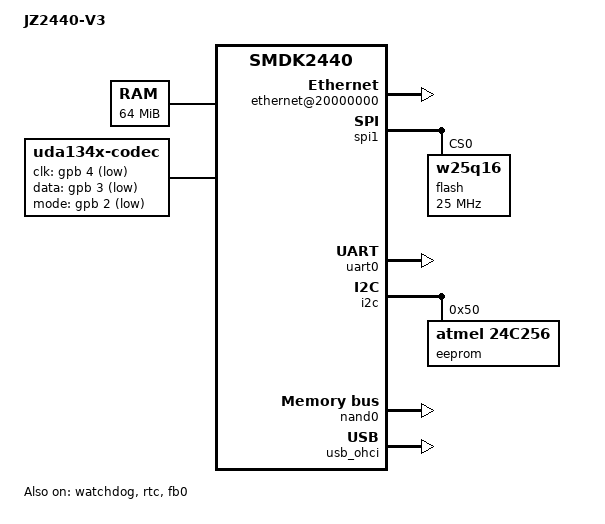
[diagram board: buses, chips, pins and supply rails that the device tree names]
/*
 * SAMSUNG SMDK2416 board device tree source
 *
 * Copyright (c) 2013 Heiko Stuebner <heiko@sntech.de>
 *
 * This program is free software; you can redistribute it and/or modify
 * it under the terms of the GNU General Public License version 2 as
 * published by the Free Software Foundation.
 */

/dts-v1/;
#include "s3c2440.dtsi"
#include <dt-bindings/interrupt-controller/irq.h>
#include <dt-bindings/gpio/gpio.h>
#include <dt-bindings/dma/s3c2440_dma_ch.h>

#define S3C2410_GPF(_nr)	((5<<16) + (_nr))

/ {
	model = "JZ2440-V3";
	compatible = "samsung,s3c2440", "samsung,smdk2440";

	aliases {
		i2c1 = &i2c_gpio_1;
	};

	memory {
	        device_type = "memory";
		reg =  <0x30000000 0x4000000>;
	};

	chosen {
		/*bootargs = "noinitrd root=/dev/mtdblock3 init=/linuxrc console=ttySAC0,115200n8 earlyprintk";*/
		bootargs = "noinitrd root=/dev/mtdblock4 rw init=/linuxrc console=ttySAC0,115200";
	};

	srom-cs4@20000000 {
		compatible = "simple-bus";
		#address-cells = <1>;
		#size-cells = <1>;
		reg = <0x20000000 0x8000000>;
		ranges;

		ethernet@20000000 {
			compatible = "davicom,dm9000";
			reg = <0x20000000 0x2 0x20000004 0x2>;
			interrupt-parent = <&gpf>;
			interrupts = <7 IRQ_TYPE_EDGE_RISING>;
			local-mac-address = [00 00 de ad be ef];
			davicom,no-eeprom;
		};
	};

	i2c_gpio_1: i2c-gpio-1 {
		compatible = "i2c-gpio";
		#address-cells = <1>;
		#size-cells = <0>;
		gpios = <&gpe 15 GPIO_ACTIVE_HIGH>,  // SDA
			<&gpe 14 GPIO_ACTIVE_HIGH>;  // SCL
		i2c-gpio,delay-us = <5>; // 100KHz
		status = "disabled";

		eeprom@50 {
			compatible = "24c02";
			reg = <0x50>;
			pagesize = <32>;
			status = "okay";
		};
	};

	fb0: fb@4d000000{
		compatible = "tq2440,lcd";
		reg = <0x4D000000 0x60>;
		interrupts = <0 0 16 3>;
		clocks = <&clocks HCLK_LCD>;
		clock-names = "lcd";
		pinctrl-names = "default";
		pinctrl-0 = <&lcd_pinctrl &lcd_backlight>;
		status = "okay";

		lcdcon5 = <0xb09>;
		type = <0x60>;
		width = /bits/ 16 <480>;
		height = /bits/ 16 <272>;
		pixclock = <100000>;
		xres = /bits/ 16 <480>;
		yres = /bits/ 16 <272>;
		bpp = /bits/ 16 <16>;
		left_margin = /bits/ 16 <2>;
		right_margin =/bits/ 16  <2>;
		hsync_len = /bits/ 16 <41>;
		upper_margin = /bits/ 16 <2>;
		lower_margin = /bits/ 16 <2>;
		vsync_len = /bits/ 16 <10>;
	};

	tq2440ts@5800000 {
		compatible = "tq2440,ts";
		reg = <0x58000000 0x100>;
		reg-names = "adc_ts_physical";
		interrupts = <1 31 9 3>, <1 31 10 3>;
		interrupt-names = "int_ts", "int_adc_s";
		clocks = <&clocks PCLK_ADC>;
		clock-names = "adc";
	};

	dma: s3c2410-dma@4B000000 {
		compatible = "s3c2440-dma";
		reg = <0x4B000000 0x1000>;
		interrupts = <0 0 17 3>, <0 0 18 3>,
				<0 0 19 3>, <0 0 20 3>;
		#dma-cells = <1>;
	};

	s3c2440_iis@55000000 {
		compatible = "s3c24xx-iis";
		reg = <0x55000000 0x100>;
		clocks = <&clocks PCLK_I2S>;
		clock-names = "iis";
		pinctrl-names = "default";
		pinctrl-0 = <&s3c2440_iis_pinctrl>;
		dmas = <&dma DMACH_I2S_IN>, <&dma DMACH_I2S_OUT>;
		dma-names = "rx", "tx";
	};

	s3c24xx_uda134x {
		compatible = "s3c24xx_uda134x";
		clocks = <&clocks MPLL>, <&clocks PCLK_I2S>;
		clock-names = "mpll", "iis";
	};

	uda134x-codec {
		compatible = "uda134x-codec";
		pinctrl-names = "default";
		pinctrl-0 = <&uda1340_codec_pinctrl>;

		uda,clk_gpio  = <&gpb 4 GPIO_ACTIVE_LOW>;
		uda,data_gpio = <&gpb 3 GPIO_ACTIVE_LOW>;
		uda,mode_gpio = <&gpb 2 GPIO_ACTIVE_LOW>;

		uda,use_gpios;
		uda,data_hold;
		uda,data_setup;
		uda,clock_high;
		uda,mode_hold;
		uda,mode;
		uda,mode_setup;

		uda,model = <2>;  //UDA134X_UDA1341
	};
	/*
	spi{
		compatible = "samsung,spi";
		status = "okay";
		//#address-cells = <1>;
		//#size-cells = <0>;
		flash@0{
			compatible = "w25q16";
			spi-max-frequency = <25000000>;
			reg = <0x0>;
		};
	};
	*/
	led {
		compatible = "jz2440_led";
		pin = <S3C2410_GPF(5)>;
	};
};

&spi1 {
	status = "okay";
	flash@0{
		compatible = "w25q16";
		spi-max-frequency = <25000000>;
		reg = <0x0>;
	};
}; 

&watchdog {
	status = "okay";
};

&rtc {
	status = "okay";
};

&uart0 {
	status = "okay";
};

&i2c {
	status = "okay";
	samsung,i2c-max-bus-freq = <200000>;
	eeprom@50 {
		compatible = "atmel,24c256";
		reg = <0x50>;
		pagesize = <32>;
		status = "okay";
	};
	
};

&nand0 {
	status = "okay";
	nand,tacls = <0xa>;
	nand,twrph0 = <0x19>;
	nand,twrph1 = <0xa>;

	#address-cells = <1>;
	#size-cells = <1>;

	partitions {
		/* MTD partition table */
		#address-cells = <1>;
		#size-cells = <1>;
		nr-chips = <1>;
		set-name = "tq2440-0";

		partition@0 {
			label = "bootloader";
			reg = <0x0000000 0x40000>;
			read-only;
		};

		partition@40000 {
			label = "device_tree";
			reg = <0x40000 0x20000>;
			read-only;
		};

		partition@60000 {
			label = "params";
			reg = <0x60000 0x20000>;
			read-only;
		};

		partition@80000 {
			label = "kernel";
			reg = <0x80000 0x400000>;
			read-only;
		};

		partition@480000 {
			label = "rootfs";
			reg = <0x480000 0>;
		};
	};
};

&usb_ohci {
	status = "okay";
};
